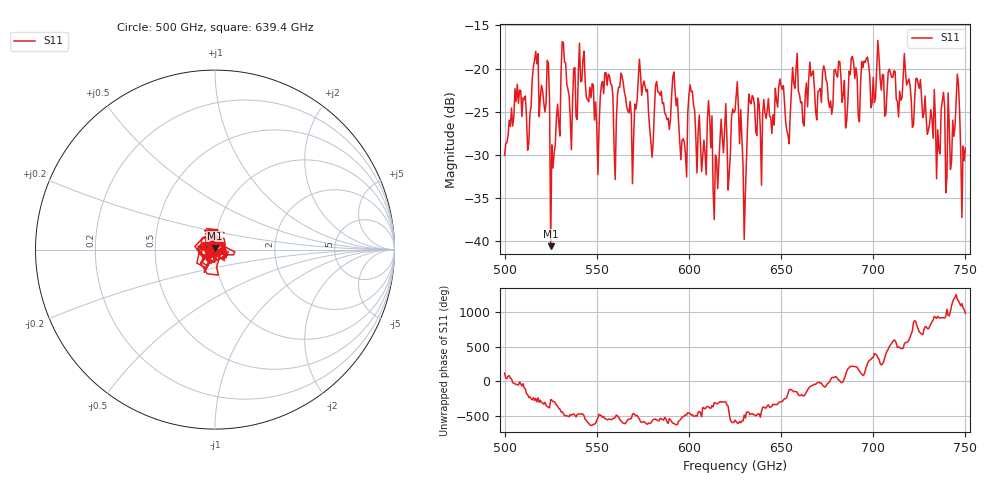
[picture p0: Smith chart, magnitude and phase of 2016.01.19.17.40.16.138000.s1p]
!Created with skrf (http://scikit-rf.org).
# GHz S RI R 50.0
!freq ReS11 ImS11
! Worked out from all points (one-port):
!   401 points, 500 GHz to 750 GHz, reference 50 ohm
!   lowest |S11| = -40.6 dB at 525 GHz (marker M1), VSWR 1.02, Z = 49.9 + j0.93 ohm
!   |S11| at or under -10 dB: start of sweep to end of sweep
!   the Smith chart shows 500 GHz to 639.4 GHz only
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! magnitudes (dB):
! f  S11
! 500 GHz  -30.1
! 506.9 GHz  -21.8
! 513.1 GHz  -28.7
! 516.9 GHz  -18.0
! 525 GHz  -40.6
! 526.2 GHz  -31.5
! 531.2 GHz  -16.9
! 535.6 GHz  -25.8
! 541.9 GHz  -21.4
! 550 GHz  -26.7
! 562.5 GHz  -22.2
! 568.8 GHz  -25.4
! 573.8 GHz  -20.6
! 579.4 GHz  -28.5
! 583.1 GHz  -22.7
! 593.8 GHz  -23.4
! 608.1 GHz  -28.3
! 611.2 GHz  -25.6
! 614.4 GHz  -30.0
! 625 GHz  -24.9
! 630 GHz  -39.8
! 633.8 GHz  -24.1
! 656.2 GHz  -19.9
! 687.5 GHz  -20.7
! 718.8 GHz  -21.5
! 740.6 GHz  -22.8
! 745.6 GHz  -20.6
! 750 GHz  -29.2
